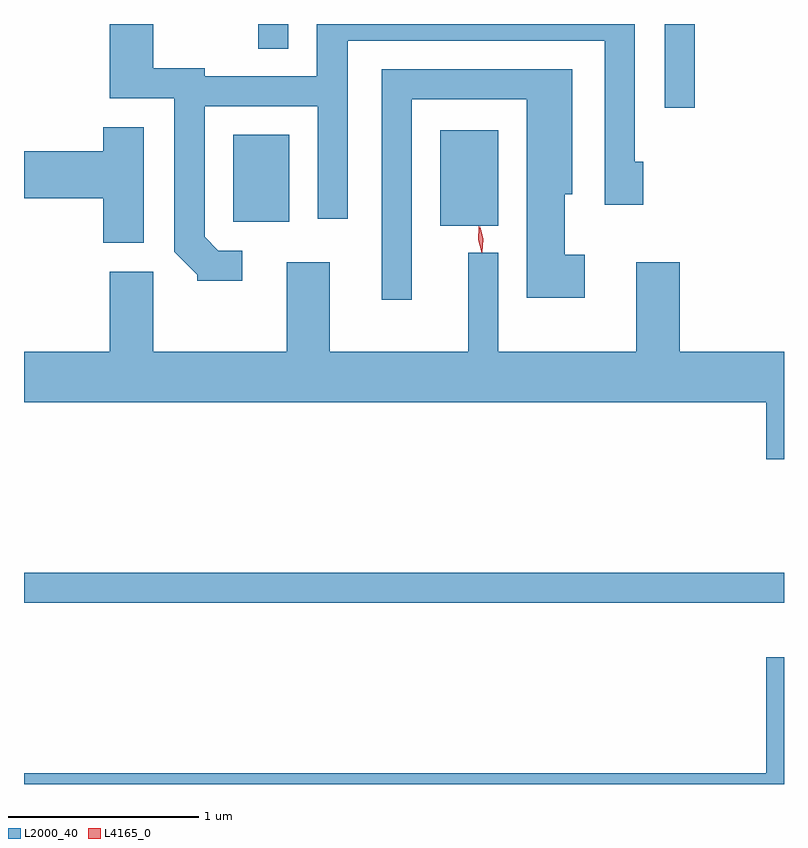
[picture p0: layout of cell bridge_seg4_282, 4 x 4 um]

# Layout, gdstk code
import gdstk
lib = gdstk.Library(unit=1e-6, precision=1e-09)
def R(c, l, rs):  # rectangles x0, y0, x1, y1
    for r in rs: c.add(gdstk.rectangle(r[:2], r[2:], *l))
def P(c, l, *ps):  # polygons
    for p in ps: c.add(gdstk.Polygon(p, *l))
L2000_40 = (2000, 40)
L4165_0 = (4165, 0)

bridge_seg4_282 = lib.new_cell('bridge_seg4_282')
R(bridge_seg4_282, L2000_40, [(510.869,1338.081,514.869,1338.239), (513.061,1340.066,513.364,1340.569), (511.971,1340.086,512.264,1340.544), (514.241,1340.688,514.399,1341.128), (512.101,1340.998,512.259,1341.128)])
P(bridge_seg4_282, L2000_40, [(512.018,1339.934),(511.892,1339.934),(511.819,1340.007),(511.819,1340.696),(512.416,1340.696),(512.416,1340.103),(512.574,1340.103),(512.574,1341.041),(513.926,1341.041),(513.926,1340.176),(514.129,1340.176),(514.129,1340.404),(514.084,1340.404),(514.084,1341.128),(512.411,1341.128),(512.411,1340.854),(511.819,1340.854),(511.819,1340.894),(511.549,1340.894),(511.549,1341.128),(511.321,1341.128),(511.321,1340.736),(511.661,1340.736),(511.661,1339.929),(511.781,1339.809),(511.781,1339.776),(512.018,1339.776)],
  [(512.909,1340.731),(513.516,1340.731),(513.516,1339.686),(513.819,1339.686),(513.819,1339.914),(513.714,1339.914),(513.714,1340.231),(513.754,1340.231),(513.754,1340.889),(512.751,1340.889),(512.751,1339.678),(512.909,1339.678)],
  [(511.499,1340.584),(511.286,1340.584),(511.286,1340.459),(510.869,1340.459),(510.869,1340.211),(511.286,1340.211),(511.286,1339.976),(511.499,1339.976)],
  [(514.869,1339.404),(514.319,1339.404),(514.319,1339.874),(514.091,1339.874),(514.091,1339.404),(513.364,1339.404),(513.364,1339.923),(513.206,1339.923),(513.206,1339.404),(512.479,1339.404),(512.479,1339.874),(512.251,1339.874),(512.251,1339.404),(511.549,1339.404),(511.549,1339.824),(511.321,1339.824),(511.321,1339.404),(510.869,1339.404),(510.869,1339.136),(514.776,1339.136),(514.776,1338.836),(514.869,1338.836)],
  [(514.869,1337.794),(514.776,1337.794),(514.776,1337.184),(510.869,1337.184),(510.869,1337.128),(514.869,1337.128)])
P(bridge_seg4_282, L4165_0, [(513.28,1339.928),(513.266,1339.993),(513.27,1340.06),(513.271,1340.06),(513.271,1340.06),(513.286,1339.995),(513.282,1339.928),(513.281,1339.928)],
  [(513.278,1339.924),(513.278,1339.925),(513.261,1339.992),(513.263,1340.062),(513.263,1340.063),(513.264,1340.062),(513.281,1339.995),(513.279,1339.925)])

lib.write_gds('bridge_seg4_282.gds')
